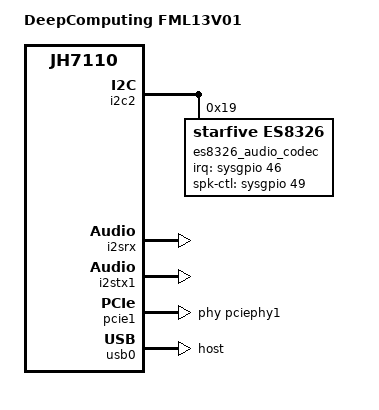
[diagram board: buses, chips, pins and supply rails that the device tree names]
// SPDX-License-Identifier: GPL-2.0 OR MIT
/*
 * Copyright (C) 2024 DeepComputing (HK) Limited
 */

/dts-v1/;
#include "jh7110-common.dtsi"

/ {
	model = "DeepComputing FML13V01";
	compatible = "deepcomputing,fml13v01", "starfive,jh7110";

	sound1: snd-card1 {
		compatible = "simple-audio-card";
		simple-audio-card,name = "StarFive-ES8326-Sound-Card";
		#address-cells = <1>;
		#size-cells = <0>;
		status = "okay";

		simple-audio-card,dai-link@0 {
			reg = <0>;
			format = "i2s";
			bitclock-master = <&sndcodec1>;
			frame-master = <&sndcodec1>;
			mclk-fs = <256>;

			cpu0 {
				sound-dai = <&i2stx1>;
			};

			cpu1 {
				sound-dai = <&i2srx>;
			};

			sndcodec1: codec {
				sound-dai = <&es8326_audio_codec>;
			};
		};
	};
};

&i2c2 {
	es8326_audio_codec: es8326@19 {
		#sound-dai-cells = <0>;
		compatible = "starfive,es8326";
		reg = <0x19>;
		irq-gpio = <&sysgpio 46 GPIO_ACTIVE_HIGH>;
		spk-ctl-gpio = <&sysgpio 49 GPIO_ACTIVE_HIGH>;
		everest,jack-pol = [0e];
		everest,interrupt-src = [08];
		everest,interrupt-clk = [45];
		status = "okay";
	};
};

&i2srx {
	pinctrl-names = "default";
	pinctrl-0 = <&i2srx_pins>;
	status = "okay";
};

&i2stx1 {
	pinctrl-names = "default";
	pinctrl-0 = <&i2stx1_pins>;
	status = "okay";
};

&pcie1 {
	perst-gpios = <&sysgpio 21 GPIO_ACTIVE_LOW>;
	phys = <&pciephy1>;
	pinctrl-names = "default";
	pinctrl-0 = <&pcie1_pins>;
	status = "okay";
};

&sysgpio {
	i2srx_pins: i2srx-0 {
		clk-sd-pins {
			pinmux = <GPIOMUX(38, GPOUT_LOW,
					      GPOEN_DISABLE,
					      GPI_SYS_I2SRX_BCLK)>,
				 <GPIOMUX(63, GPOUT_LOW,
					      GPOEN_DISABLE,
					      GPI_SYS_I2SRX_LRCK)>,
				 <GPIOMUX(38, GPOUT_LOW,
					      GPOEN_DISABLE,
					      GPI_SYS_I2STX1_BCLK)>,
				 <GPIOMUX(63, GPOUT_LOW,
					      GPOEN_DISABLE,
					      GPI_SYS_I2STX1_LRCK)>,
				 <GPIOMUX(44, GPOUT_LOW,
					      GPOEN_DISABLE,
					      GPI_SYS_I2SRX_SDIN0)>;
			input-enable;
		};
	};

	i2stx1_pins: i2stx1-0 {
		sd-pins {
			pinmux = <GPIOMUX(61, GPOUT_SYS_I2STX1_SDO0,
					      GPOEN_ENABLE,
					      GPI_NONE)>;
			bias-disable;
			input-disable;
		};
	};

	pcie1_pins: pcie1-0 {
		clkreq-pins {
			pinmux = <GPIOMUX(29, GPOUT_LOW,
					      GPOEN_DISABLE,
					      GPI_NONE)>;
			bias-pull-down;
			drive-strength = <2>;
			input-enable;
			input-schmitt-disable;
			slew-rate = <0>;
		};

		wake-pins {
			pinmux = <GPIOMUX(28, GPOUT_HIGH,
					      GPOEN_DISABLE,
					      GPI_NONE)>;
			bias-pull-up;
			drive-strength = <2>;
			input-enable;
			input-schmitt-disable;
			slew-rate = <0>;
		};
	};
};

&usb0 {
	dr_mode = "host";
	status = "okay";
};
